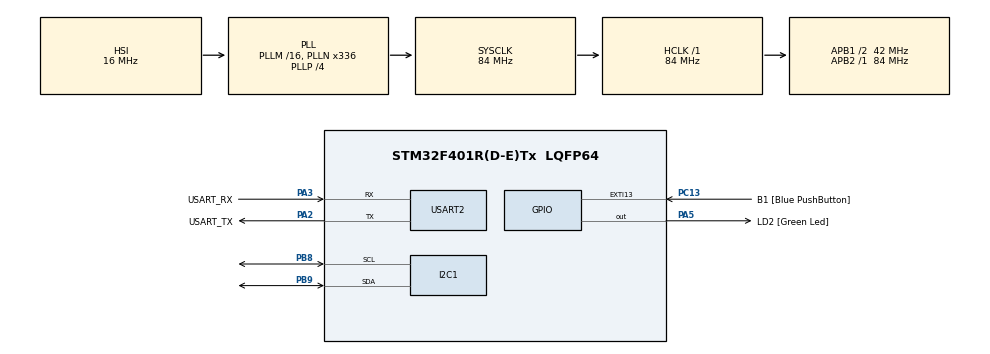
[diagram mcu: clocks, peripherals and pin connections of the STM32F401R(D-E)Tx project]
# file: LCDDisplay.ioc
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Mcu.Family=STM32F4
Mcu.Name=STM32F401R(D-E)Tx
Mcu.Package=LQFP64
NVIC.PriorityGroup=NVIC_PRIORITYGROUP_0
PA13.GPIO_Label=TMS
PA13.Mode=Serial_Wire
PA13.Signal=SYS_JTMS-SWDIO
PA14.GPIO_Label=TCK
PA14.Mode=Serial_Wire
PA14.Signal=SYS_JTCK-SWCLK
PA2.GPIO_Label=USART_TX
PA2.GPIO_Mode=GPIO_MODE_AF_PP
PA2.GPIO_PuPd=GPIO_NOPULL
PA2.GPIO_Speed=GPIO_SPEED_FREQ_LOW
PA2.Mode=Asynchronous
PA2.Signal=USART2_TX
PA3.GPIO_Label=USART_RX
PA3.GPIO_Mode=GPIO_MODE_AF_PP
PA3.GPIO_PuPd=GPIO_NOPULL
PA3.GPIO_Speed=GPIO_SPEED_FREQ_LOW
PA3.Mode=Asynchronous
PA3.Signal=USART2_RX
PA5.GPIO_Label=LD2 [Green Led]
PA5.GPIO_Mode=GPIO_MODE_OUTPUT_PP
PA5.GPIO_PuPd=GPIO_NOPULL
PA5.GPIO_Speed=GPIO_SPEED_FREQ_LOW
PA5.Signal=GPIO_Output
PB3.GPIO_Label=SWO
PB3.Signal=SYS_JTDO-SWO
PB8.GPIO_Pu=GPIO_PULLUP
PB8.Mode=I2C
PB8.Signal=I2C1_SCL
PB9.GPIO_Pu=GPIO_PULLUP
PB9.Mode=I2C
PB9.Signal=I2C1_SDA
PC13-ANTI_TAMP.GPIO_Label=B1 [Blue PushButton]
PC13-ANTI_TAMP.GPIO_ModeDefaultEXTI=GPIO_MODE_IT_FALLING
PC13-ANTI_TAMP.GPIO_PuPd=GPIO_NOPULL
PC13-ANTI_TAMP.Signal=GPXTI13
PC14-OSC32_IN.Mode=LSE-External-Oscillator
PC14-OSC32_IN.Signal=RCC_OSC32_IN
PC15-OSC32_OUT.Mode=LSE-External-Oscillator
PC15-OSC32_OUT.Signal=RCC_OSC32_OUT
PH0\ -\ OSC_IN.Mode=HSE-External-Clock-Source
PH0\ -\ OSC_IN.Signal=RCC_OSC_IN
PH1\ -\ OSC_OUT.Mode=HSE-External-Clock-Source
PH1\ -\ OSC_OUT.Signal=RCC_OSC_OUT
ProjectManager.HeapSize=0x200
ProjectManager.StackSize=0x400
ProjectManager.TargetToolchain=STM32CubeIDE
RCC.48MHZClocksFreq_Value=48000000
RCC.AHBFreq_Value=84000000
RCC.APB1CLKDivider=RCC_HCLK_DIV2
RCC.APB1Freq_Value=42000000
RCC.APB1TimFreq_Value=84000000
RCC.APB2Freq_Value=84000000
RCC.APB2TimFreq_Value=84000000
RCC.CortexFreq_Value=84000000
RCC.HCLKFreq_Value=84000000
RCC.HSE_VALUE=8000000
RCC.HSI_VALUE=16000000
RCC.PLLN=336
RCC.PLLP=RCC_PLLP_DIV4
RCC.PLLQ=7
RCC.SYSCLKFreq_VALUE=84000000
RCC.SYSCLKSource=RCC_SYSCLKSOURCE_PLLCLK
RCC.VCOOutputFreq_Value=336000000
USART2.VirtualMode=VM_ASYNC
board=NUCLEO-F401RE

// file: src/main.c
/* USER CODE BEGIN Header */
/**
  ******************************************************************************
  * @file           : main.c
  * @brief          : Main program body
  * @authors        : Thomas Hart and Luc Edes
  ******************************************************************************
  * @attention
  *
  * <h2><center>&copy; Copyright (c) 2021 STMicroelectronics.
  * All rights reserved.</center></h2>
  *
  * This software component is licensed by ST under BSD 3-Clause license,
  * the "License"; You may not use this file except in compliance with the
  * License. You may obtain a copy of the License at:
  *                        opensource.org/licenses/BSD-3-Clause
  *
  ******************************************************************************
  */
/* USER CODE END Header */

#include "main.h"

/* USER CODE BEGIN Includes */
#include <stdbool.h>
#include <stdio.h>
#include <stdlib.h>
#include <limits.h>

#include "ece198.h"
#include "lcd16x2_i2c.h"
/* USER CODE END Includes */

I2C_HandleTypeDef hi2c1;
UART_HandleTypeDef huart2;

void SystemClock_Config(void);
static void MX_GPIO_Init(void);
static void MX_I2C1_Init(void);
static void MX_USART2_UART_Init(void);

int main(void)
{
  /* MCU Configuration--------------------------------------------------------*/

  /* Reset of all peripherals, Initializes the Flash interface and the Systick. */
  HAL_Init();

  /* Configure the system clock */
  SystemClock_Config();

  /* USER CODE BEGIN SysInit */
  __HAL_RCC_GPIOA_CLK_ENABLE(); // enable port A
  __HAL_RCC_GPIOB_CLK_ENABLE(); // enable port B
  __HAL_RCC_GPIOC_CLK_ENABLE(); // enable port C
  InitializePin(GPIOA, GPIO_PIN_5, GPIO_MODE_OUTPUT_PP, GPIO_NOPULL, 0);
  /* USER CODE END SysInit */

  /* Initialize all configured peripherals */
  MX_GPIO_Init();
  MX_I2C1_Init();
  MX_USART2_UART_Init();

  /* USER CODE BEGIN 2 */
  uint32_t time2 = (INT_MIN/2) - 1;

    // Should we consider adding a space? Not at beginning, so we initialize to false
    bool considerSpace = false;

    // Array of characters to keep track of user input before translating to ASCII character
    char userInput[4] = {'\0', '\0', '\0', '\0'};
    char inputChar = ' ';
    int userCounter = 0;

    // Array to keep track of ASCII characters and check against correct answers
    char cityInput[85] = {'\0'};
    size_t cityIndex = 0;

    // Array of countries and corresponding cities of interest during WW2
    char const COUNTRIES[13][16] = {"GERMANY", "UNITED KINGDOM", "SPAIN", "ITALY", "UKRAINE", "BELGIUM", "FRANCE", "POLAND", "CZECHOSLOVAKIA", "NETHERLANDS", "AUSTRIA", "YUGOSLAVIA", "NORWAY"};
    char const CITIES[13][16] = {"BERLIN", "LONDON", "MADRID", "ROME", "KIEV", "BRUSSELS", "PARIS", "WARSAW", "PRAGUE", "AMSTERDAM", "VIENNA", "BELGRADE", "OSLO"};

    // Morse alphabet dictionary
    char const MORSE_ALPHABET[26][4] = {
        //A
        {'.', '-'},

        //B
        {'-', '.', '.', '.'},

        //C
        {'-', '.', '-', '.'},

        //D
        {'-', '.', '.'},

        //E
        {'.'},

        //F
        {'.', '.', '-', '.'},

        //G
        {'-', '-', '.'},

        //H
        {'.', '.', '.', '.'},

        //I
        {'.', '.'},

        //J
        {'.', '-', '-', '-'},

        //K
        {'-', '.', '-'},

        //L
        {'.', '-', '.', '.'},

        //M
        {'-', '-'},

        //N
        {'-', '.'},

        //O
        {'-', '-', '-'},

        //P
        {'.', '-', '-', '.'},

        //Q
        {'-', '-', '.', '-'},

        //R
        {'.', '-', '.'},

        //S
        {'.', '.', '.'},

        //T
        {'-'},

        //U
        {'.', '.', '-'},

        //V
        {'.', '.', '.', '-'},

        //W
        {'.', '-', '-'},

        //X
        {'-', '.', '.', '-'},

        //Y
        {'-', '.', '-', '-'},

        //Z
        {'-', '-', '.', '.'}

    };

  if(lcd16x2_i2c_init(&hi2c1)) {
	  HAL_GPIO_TogglePin(GPIOA, GPIO_PIN_5);
    HAL_Delay(500);
    HAL_GPIO_TogglePin(GPIOA, GPIO_PIN_5);
  }
  lcd16x2_i2c_setCursor(0,0);
  lcd16x2_i2c_clear();

  // INITIALIZATION AND CHOOSING RANDOM COUNTRIES TO ASK USER
  while (HAL_GPIO_ReadPin(GPIOC, GPIO_PIN_13));

  srand(HAL_GetTick());
  int guessIndex = rand() % 13;
  int round = 1;
  int previous[2] = {13,13};

  lcd16x2_i2c_printf(COUNTRIES[guessIndex]);

  while (!(HAL_GPIO_ReadPin(GPIOC, GPIO_PIN_13)));
  /* USER CODE END 2 */

  /* Infinite loop */
  while (1)
  {
    int timeSincePressed = 0;

        while (HAL_GPIO_ReadPin(GPIOC, GPIO_PIN_13)){

            timeSincePressed = HAL_GetTick() - time2;

            if(considerSpace && (timeSincePressed > 1400)){

                considerSpace = false;

                if(MorseToChar(userInput, MORSE_ALPHABET) != '\0'){

                    cityInput[cityIndex] = MorseToChar(userInput, MORSE_ALPHABET);
                    cityIndex++;

                    lcd16x2_i2c_clear();
                    lcd16x2_i2c_setCursor(0,0);
                    lcd16x2_i2c_printf(COUNTRIES[guessIndex]);
                    lcd16x2_i2c_setCursor(1,0);
                    lcd16x2_i2c_printf(cityInput);

                    if (isEqual(cityInput, CITIES[guessIndex])) {
                      if (round == 3) {
                        lcd16x2_i2c_clear();
                        lcd16x2_i2c_setCursor(0,0);
                        lcd16x2_i2c_printf("Good job");
                        lcd16x2_i2c_setCursor(1,0);
                        lcd16x2_i2c_printf("Europe is safe!");
                      } else {
                        lcd16x2_i2c_clear();
                        lcd16x2_i2c_setCursor(0,0);
                        lcd16x2_i2c_printf("Successful");
                        lcd16x2_i2c_setCursor(1,0);
                        lcd16x2_i2c_printf("Transmission");
                        HAL_Delay(3000);
                        reset(cityInput);
                        reset(userInput);
                        cityIndex = 0;
                        previous[round-1] = guessIndex;
                        while ((guessIndex == previous[0]) || (guessIndex == previous[1])) {
                          guessIndex = rand() % 13;
                        }
                        round++;
                        lcd16x2_i2c_clear();
                        lcd16x2_i2c_setCursor(0,0);
                        lcd16x2_i2c_printf(COUNTRIES[guessIndex]);
                      }
                    }

                } else{
                  lcd16x2_i2c_clear();
                  lcd16x2_i2c_setCursor(0,0);
                  lcd16x2_i2c_printf(COUNTRIES[guessIndex]);
                  lcd16x2_i2c_setCursor(1,0);
                  lcd16x2_i2c_printf(cityInput);

                }

                for (int i = 0; i < 4; i++) {
                    userInput[i] = '\0';
                }
                userCounter = 0;
            }

        } // Waiting for button press

        uint32_t time1 = HAL_GetTick();

        while (!HAL_GPIO_ReadPin(GPIOC, GPIO_PIN_13)); // Waiting for button to be released

        time2 = HAL_GetTick();
        uint32_t timePressed = time2 - time1; // Calculating time button is held for

        if(timePressed < 200){

            inputChar = '.';
        } else if(timePressed < 3000){
            inputChar = '-';
        } else if(cityIndex != 0){
            inputChar = '\0';

            cityIndex--;
            cityInput[cityIndex] = '\0';

            lcd16x2_i2c_clear();
            lcd16x2_i2c_setCursor(0,0);
            lcd16x2_i2c_printf(COUNTRIES[guessIndex]);
            lcd16x2_i2c_setCursor(1,0);
            lcd16x2_i2c_printf(cityInput);
        }

        if((inputChar != '\0') && userCounter < 4){
            userInput[userCounter] = inputChar;
            userCounter++;
            considerSpace = true;
        }

  }
}

void SystemClock_Config(void)
{
  RCC_OscInitTypeDef RCC_OscInitStruct = {0};
  RCC_ClkInitTypeDef RCC_ClkInitStruct = {0};

  /** Configure the main internal regulator output voltage
  */
  __HAL_RCC_PWR_CLK_ENABLE();
  __HAL_PWR_VOLTAGESCALING_CONFIG(PWR_REGULATOR_VOLTAGE_SCALE2);
  /** Initializes the RCC Oscillators according to the specified parameters
  * in the RCC_OscInitTypeDef structure.
  */
  RCC_OscInitStruct.OscillatorType = RCC_OSCILLATORTYPE_HSI;
  RCC_OscInitStruct.HSIState = RCC_HSI_ON;
  RCC_OscInitStruct.HSICalibrationValue = RCC_HSICALIBRATION_DEFAULT;
  RCC_OscInitStruct.PLL.PLLState = RCC_PLL_ON;
  RCC_OscInitStruct.PLL.PLLSource = RCC_PLLSOURCE_HSI;
  RCC_OscInitStruct.PLL.PLLM = 16;
  RCC_OscInitStruct.PLL.PLLN = 336;
  RCC_OscInitStruct.PLL.PLLP = RCC_PLLP_DIV4;
  RCC_OscInitStruct.PLL.PLLQ = 7;
  if (HAL_RCC_OscConfig(&RCC_OscInitStruct) != HAL_OK)
  {
    Error_Handler();
  }
  /** Initializes the CPU, AHB and APB buses clocks
  */
  RCC_ClkInitStruct.ClockType = RCC_CLOCKTYPE_HCLK|RCC_CLOCKTYPE_SYSCLK
                              |RCC_CLOCKTYPE_PCLK1|RCC_CLOCKTYPE_PCLK2;
  RCC_ClkInitStruct.SYSCLKSource = RCC_SYSCLKSOURCE_PLLCLK;
  RCC_ClkInitStruct.AHBCLKDivider = RCC_SYSCLK_DIV1;
  RCC_ClkInitStruct.APB1CLKDivider = RCC_HCLK_DIV2;
  RCC_ClkInitStruct.APB2CLKDivider = RCC_HCLK_DIV1;

  if (HAL_RCC_ClockConfig(&RCC_ClkInitStruct, FLASH_LATENCY_2) != HAL_OK)
  {
    Error_Handler();
  }
}

static void MX_I2C1_Init(void)
{

  hi2c1.Instance = I2C1;
  hi2c1.Init.ClockSpeed = 100000;
  hi2c1.Init.DutyCycle = I2C_DUTYCYCLE_2;
  hi2c1.Init.OwnAddress1 = 0;
  hi2c1.Init.AddressingMode = I2C_ADDRESSINGMODE_7BIT;
  hi2c1.Init.DualAddressMode = I2C_DUALADDRESS_DISABLE;
  hi2c1.Init.OwnAddress2 = 0;
  hi2c1.Init.GeneralCallMode = I2C_GENERALCALL_DISABLE;
  hi2c1.Init.NoStretchMode = I2C_NOSTRETCH_DISABLE;
  if (HAL_I2C_Init(&hi2c1) != HAL_OK)
  {
    Error_Handler();
  }

}

static void MX_USART2_UART_Init(void)
{

  huart2.Instance = USART2;
  huart2.Init.BaudRate = 115200;
  huart2.Init.WordLength = UART_WORDLENGTH_8B;
  huart2.Init.StopBits = UART_STOPBITS_1;
  huart2.Init.Parity = UART_PARITY_NONE;
  huart2.Init.Mode = UART_MODE_TX_RX;
  huart2.Init.HwFlowCtl = UART_HWCONTROL_NONE;
  huart2.Init.OverSampling = UART_OVERSAMPLING_16;
  if (HAL_UART_Init(&huart2) != HAL_OK)
  {
    Error_Handler();
  }

}

static void MX_GPIO_Init(void)
{
  GPIO_InitTypeDef GPIO_InitStruct = {0};

  /* GPIO Ports Clock Enable */
  __HAL_RCC_GPIOC_CLK_ENABLE();
  __HAL_RCC_GPIOH_CLK_ENABLE();
  __HAL_RCC_GPIOA_CLK_ENABLE();
  __HAL_RCC_GPIOB_CLK_ENABLE();

  /*Configure GPIO pin Output Level */
  HAL_GPIO_WritePin(LD2_GPIO_Port, LD2_Pin, GPIO_PIN_RESET);

  /*Configure GPIO pin : B1_Pin */
  GPIO_InitStruct.Pin = B1_Pin;
  GPIO_InitStruct.Mode = GPIO_MODE_IT_FALLING;
  GPIO_InitStruct.Pull = GPIO_NOPULL;
  HAL_GPIO_Init(B1_GPIO_Port, &GPIO_InitStruct);

  /*Configure GPIO pin : LD2_Pin */
  GPIO_InitStruct.Pin = LD2_Pin;
  GPIO_InitStruct.Mode = GPIO_MODE_OUTPUT_PP;
  GPIO_InitStruct.Pull = GPIO_NOPULL;
  GPIO_InitStruct.Speed = GPIO_SPEED_FREQ_LOW;
  HAL_GPIO_Init(LD2_GPIO_Port, &GPIO_InitStruct);

}

/* USER CODE BEGIN 4 */

char MorseToChar(char morse[], char morseAlphabet[][4]) { // Convert Morse input to ASCII character

    for (int i = 0; i < 26; i++) {
        if ((morseAlphabet[i][0] == morse[0]) && (morseAlphabet[i][1] == morse[1]) && (morseAlphabet[i][2] == morse[2]) && (morseAlphabet[i][3] == morse[3])) {
            return i + 65;
        }
    }
    return '\0';
}

bool isEqual(char str1[], char str2[]) {
    int i = 0;

    while (str1[i] != '\0') {

        if (str1[i] != str2[i]) {
            return false;
        }
        i++;
    }

    return str2[i] == '\0';
}

void reset(char *str[]) {
  int i = 0;
  while (str[i] != '\0') {
    str[i] = '\0';
    i++;
  }
}

/* USER CODE END 4 */

void Error_Handler(void)
{
  __disable_irq();
  while (1)
  {
  }
}

/************************ (C) COPYRIGHT STMicroelectronics *****END OF FILE****/
